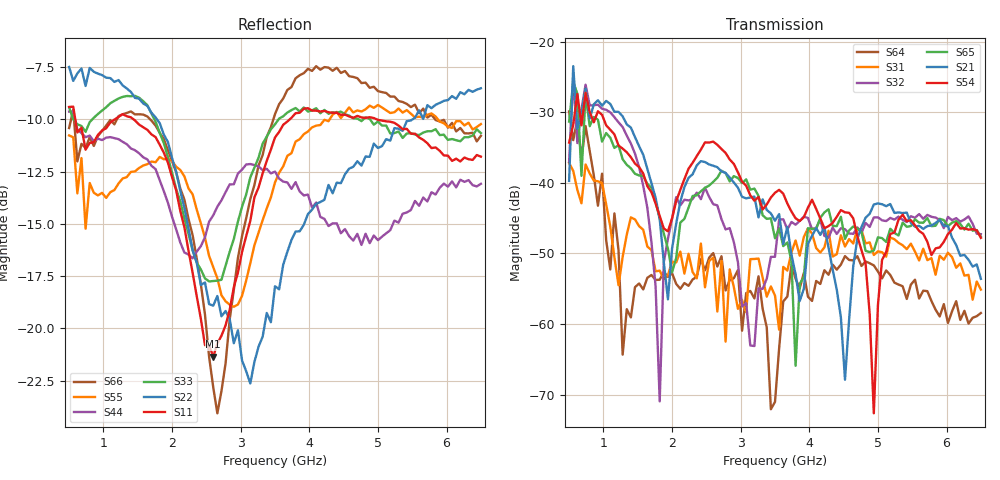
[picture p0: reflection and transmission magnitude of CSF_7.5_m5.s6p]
!Keysight Technologies,M9804A,MY58100912,A.14.10.03
!Date: Thursday, April 27, 2023 10:28:33
!Correction: S11(C  6-Port  )
!S12(C  6-Port  )
!S13(C  6-Port  )
!S14(C  6-Port  )
!S15(C  6-Port  )
!S16(C  6-Port  )
!S21(C  6-Port  )
!S22(C  6-Port  )
!S23(C  6-Port  )
!S24(C  6-Port  )
!S25(C  6-Port  )
!S26(C  6-Port  )
!S31(C  6-Port  )
!S32(C  6-Port  )
!S33(C  6-Port  )
!S34(C  6-Port  )
!S35(C  6-Port  )
!S36(C  6-Port  )
!S41(C  6-Port  )
!S42(C  6-Port  )
!S43(C  6-Port  )
!S44(C  6-Port  )
!S45(C  6-Port  )
!S46(C  6-Port  )
!S51(C  6-Port  )
!S52(C  6-Port  )
!S53(C  6-Port  )
!S54(C  6-Port  )
!S55(C  6-Port  )
!S56(C  6-Port  )
!S61(C  6-Port  )
!S62(C  6-Port  )
!S63(C  6-Port  )
!S64(C  6-Port  )
!S65(C  6-Port  )
!S66(C  6-Port  )
!S6P File: Measurement: :
# Hz S  RI  R 50
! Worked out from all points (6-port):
!   101 points, 500 MHz to 6.5 GHz, reference 50 ohm
!   strongest paths, dB at 500 MHz, 2 GHz, 3.5 GHz, 5 GHz, 6.5 GHz:
!     S54: -34.3, -45.0, -41.4, -57.3, -47.8
!     S21: -39.7, -49.3, -45.4, -42.9, -53.6
!     S65: -31.3, -52.7, -47.9, -47.7, -47.6
!     S32: -37.0, -45.1, -50.5, -44.9, -47.3
!     S31: -37.2, -51.2, -56.0, -49.7, -55.1
!     S64: -29.9, -52.8, -71.0, -52.6, -58.4
!   lowest |S11| = -21.4 dB at 2.6 GHz (marker M1), VSWR 1.19, Z = 42.4 + j2.26 ohm
!   |S11| at or under -10 dB: 589.3 MHz to 1.166 GHz (576.9 MHz wide, 65.7 % of centre); 1.438 GHz to 3.716 GHz (2.278 GHz wide, 88.4 % of centre); 4.98 GHz to end of sweep
